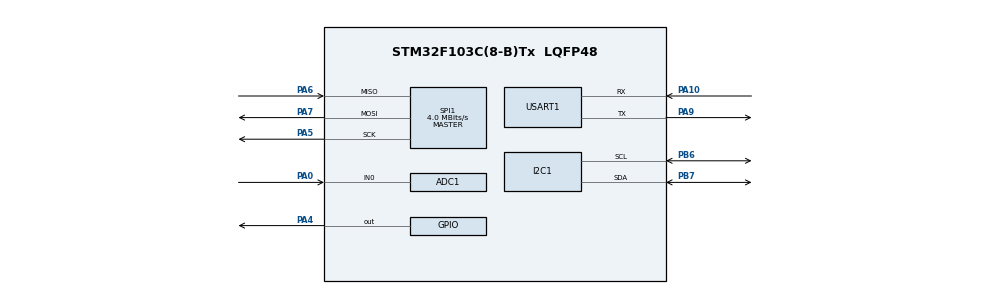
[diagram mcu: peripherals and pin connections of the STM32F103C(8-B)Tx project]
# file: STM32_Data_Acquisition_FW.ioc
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ADC1.NbrOfConversionFlag=1
ADC1.SamplingTime-0\#ChannelRegularConversion=ADC_SAMPLETIME_55CYCLES_5
ADC1.master=1
FREERTOS.Tasks01=defaultTask,24,128,StartDefaultTask,Default,NULL,Dynamic,NULL,NULL;AcquisitionTask,24,256,StartAcquisitionTask,Default,NULL,Dynamic,NULL,NULL;CommunicationTa,16,256,StartCommunicationTask,Default,NULL,Dynamic,NULL,NULL
Mcu.Family=STM32F1
Mcu.Name=STM32F103C(8-B)Tx
Mcu.Package=LQFP48
NVIC.PriorityGroup=NVIC_PRIORITYGROUP_4
NVIC.TIM2_IRQn=true\:15\:0\:false\:false\:true\:false\:false\:true\:true
NVIC.TimeBase=TIM2_IRQn
NVIC.TimeBaseIP=TIM2
PA0-WKUP.Signal=ADCx_IN0
PA10.Mode=Asynchronous
PA10.Signal=USART1_RX
PA13.Mode=Serial_Wire
PA13.Signal=SYS_JTMS-SWDIO
PA14.Mode=Serial_Wire
PA14.Signal=SYS_JTCK-SWCLK
PA4.PinState=GPIO_PIN_SET
PA4.Signal=GPIO_Output
PA5.Mode=Full_Duplex_Master
PA5.Signal=SPI1_SCK
PA6.Mode=Full_Duplex_Master
PA6.Signal=SPI1_MISO
PA7.Mode=Full_Duplex_Master
PA7.Signal=SPI1_MOSI
PA9.Mode=Asynchronous
PA9.Signal=USART1_TX
PB6.Mode=I2C
PB6.Signal=I2C1_SCL
PB7.Mode=I2C
PB7.Signal=I2C1_SDA
ProjectManager.HeapSize=0x200
ProjectManager.StackSize=0x400
ProjectManager.TargetToolchain=STM32CubeIDE
RCC.APB1Freq_Value=8000000
RCC.APB2Freq_Value=8000000
SH.ADCx_IN0.0=ADC1_IN0,IN0
SPI1.CalculateBaudRate=4.0 MBits/s
SPI1.Direction=SPI_DIRECTION_2LINES
SPI1.Mode=SPI_MODE_MASTER
SPI1.VirtualType=VM_MASTER
USART1.VirtualMode=VM_ASYNC
VP_FREERTOS_VS_CMSIS_V2.Mode=CMSIS_V2
VP_SYS_VS_tim2.Mode=TIM2
board=custom

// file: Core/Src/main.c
/* USER CODE BEGIN Header */
/**
  ******************************************************************************
  * @file           : main.c
  * @brief          : Main program body
  ******************************************************************************
  * @attention
  *
  * Copyright (c) 2026 STMicroelectronics.
  * All rights reserved.
  *
  * This software is licensed under terms that can be found in the LICENSE file
  * in the root directory of this software component.
  * If no LICENSE file comes with this software, it is provided AS-IS.
  *
  ******************************************************************************
  */
/* USER CODE END Header */
#include "main.h"
#include "cmsis_os.h"
#include "adc.h"
#include "i2c.h"
#include "spi.h"
#include "usart.h"
#include "gpio.h"

/* USER CODE BEGIN Includes */
#include <stdio.h>

/* USER CODE END Includes */

void SystemClock_Config(void);
void MX_FREERTOS_Init(void);

int main(void)
{

  /* MCU Configuration--------------------------------------------------------*/

  /* Reset of all peripherals, Initializes the Flash interface and the Systick. */
  HAL_Init();

  /* Configure the system clock */
  SystemClock_Config();

  /* Initialize all configured peripherals */
  MX_GPIO_Init();
  MX_ADC1_Init();
  MX_I2C1_Init();
  MX_SPI1_Init();
  MX_USART1_UART_Init();

  /* Init scheduler */
  osKernelInitialize();  /* Call init function for freertos objects (in cmsis_os2.c) */
  MX_FREERTOS_Init();

  /* Start scheduler */
  osKernelStart();

  /* We should never get here as control is now taken by the scheduler */

  /* Infinite loop */
  while (1)
  {

}

}

void SystemClock_Config(void)
{
  RCC_OscInitTypeDef RCC_OscInitStruct = {0};
  RCC_ClkInitTypeDef RCC_ClkInitStruct = {0};
  RCC_PeriphCLKInitTypeDef PeriphClkInit = {0};

  /** Initializes the RCC Oscillators according to the specified parameters
  * in the RCC_OscInitTypeDef structure.
  */
  RCC_OscInitStruct.OscillatorType = RCC_OSCILLATORTYPE_HSI;
  RCC_OscInitStruct.HSIState = RCC_HSI_ON;
  RCC_OscInitStruct.HSICalibrationValue = RCC_HSICALIBRATION_DEFAULT;
  RCC_OscInitStruct.PLL.PLLState = RCC_PLL_NONE;
  if (HAL_RCC_OscConfig(&RCC_OscInitStruct) != HAL_OK)
  {
    Error_Handler();
  }

  /** Initializes the CPU, AHB and APB buses clocks
  */
  RCC_ClkInitStruct.ClockType = RCC_CLOCKTYPE_HCLK|RCC_CLOCKTYPE_SYSCLK
                              |RCC_CLOCKTYPE_PCLK1|RCC_CLOCKTYPE_PCLK2;
  RCC_ClkInitStruct.SYSCLKSource = RCC_SYSCLKSOURCE_HSI;
  RCC_ClkInitStruct.AHBCLKDivider = RCC_SYSCLK_DIV1;
  RCC_ClkInitStruct.APB1CLKDivider = RCC_HCLK_DIV1;
  RCC_ClkInitStruct.APB2CLKDivider = RCC_HCLK_DIV1;

  if (HAL_RCC_ClockConfig(&RCC_ClkInitStruct, FLASH_LATENCY_0) != HAL_OK)
  {
    Error_Handler();
  }
  PeriphClkInit.PeriphClockSelection = RCC_PERIPHCLK_ADC;
  PeriphClkInit.AdcClockSelection = RCC_ADCPCLK2_DIV2;
  if (HAL_RCCEx_PeriphCLKConfig(&PeriphClkInit) != HAL_OK)
  {
    Error_Handler();
  }
}

void HAL_TIM_PeriodElapsedCallback(TIM_HandleTypeDef *htim)
{
  if (htim->Instance == TIM2)
  {
    HAL_IncTick();
  }
}

void Error_Handler(void)
{
  __disable_irq();
  while (1)
  {
  }
}

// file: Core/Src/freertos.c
/* USER CODE BEGIN Header */
/**
  ******************************************************************************
  * File Name          : freertos.c
  * Description        : Code for freertos applications
  ******************************************************************************
  * @attention
  *
  * Copyright (c) 2026 STMicroelectronics.
  * All rights reserved.
  *
  * This software is licensed under terms that can be found in the LICENSE file
  * in the root directory of this software component.
  * If no LICENSE file comes with this software, it is provided AS-IS.
  *
  ******************************************************************************
  */
/* USER CODE END Header */

#include "FreeRTOS.h"
#include "task.h"
#include "main.h"
#include "cmsis_os.h"

/* USER CODE BEGIN Includes */
#include "adc.h"
#include "usart.h"
#include <stdio.h>
/* USER CODE END Includes */
/* Variable partagee entre les deux taches FreeRTOS */
volatile uint32_t adc_shared_value = 0;

/* Definitions for defaultTask */
osThreadId_t defaultTaskHandle;
const osThreadAttr_t defaultTask_attributes = {
  .name = "defaultTask",
  .stack_size = 128 * 4,
  .priority = (osPriority_t) osPriorityNormal,
};
/* Definitions for AcquisitionTask */
osThreadId_t AcquisitionTaskHandle;
const osThreadAttr_t AcquisitionTask_attributes = {
  .name = "AcquisitionTask",
  .stack_size = 256 * 4,
  .priority = (osPriority_t) osPriorityNormal,
};
/* Definitions for CommunicationTa */
osThreadId_t CommunicationTaHandle;
const osThreadAttr_t CommunicationTa_attributes = {
  .name = "CommunicationTa",
  .stack_size = 256 * 4,
  .priority = (osPriority_t) osPriorityBelowNormal,
};

void StartDefaultTask(void *argument);
void StartAcquisitionTask(void *argument);
void StartCommunicationTask(void *argument);

void MX_FREERTOS_Init(void); /* (MISRA C 2004 rule 8.1) */

void MX_FREERTOS_Init(void) {

  /* Create the thread(s) */
  /* creation of defaultTask */
  defaultTaskHandle = osThreadNew(StartDefaultTask, NULL, &defaultTask_attributes);

  /* creation of AcquisitionTask */
  AcquisitionTaskHandle = osThreadNew(StartAcquisitionTask, NULL, &AcquisitionTask_attributes);

  /* creation of CommunicationTa */
  CommunicationTaHandle = osThreadNew(StartCommunicationTask, NULL, &CommunicationTa_attributes);

}

void StartDefaultTask(void *argument)
{
  for(;;)
  {
    osDelay(1);
  }
}

void StartAcquisitionTask(void *argument)
{
  /* USER CODE BEGIN StartAcquisitionTask */

  for (;;)
  {
    HAL_ADC_Start(&hadc1);

    if (HAL_ADC_PollForConversion(&hadc1, 100) == HAL_OK)
    {
      uint32_t adc_value = HAL_ADC_GetValue(&hadc1);
      adc_shared_value = adc_value;
    }

    HAL_ADC_Stop(&hadc1);

    osDelay(500);
  }

  /* USER CODE END StartAcquisitionTask */
}
void StartCommunicationTask(void *argument)
{
  /* USER CODE BEGIN StartCommunicationTask */
  /* Infinite loop */
	for (;;)
	{
	    char message[64];
	    uint32_t valeur = adc_shared_value;

	    int longueur = snprintf(
	        message,
	        sizeof(message),
	        "ADC = %lu\r\n",
	        (unsigned long)valeur
	    );

	    if (longueur > 0 && longueur < (int)sizeof(message))
	    {
	        HAL_UART_Transmit(
	            &huart1,
	            (uint8_t *)message,
	            (uint16_t)longueur,
	            100
	        );
	    }

	    osDelay(500);
	}
  /* USER CODE END StartCommunicationTask */
}
